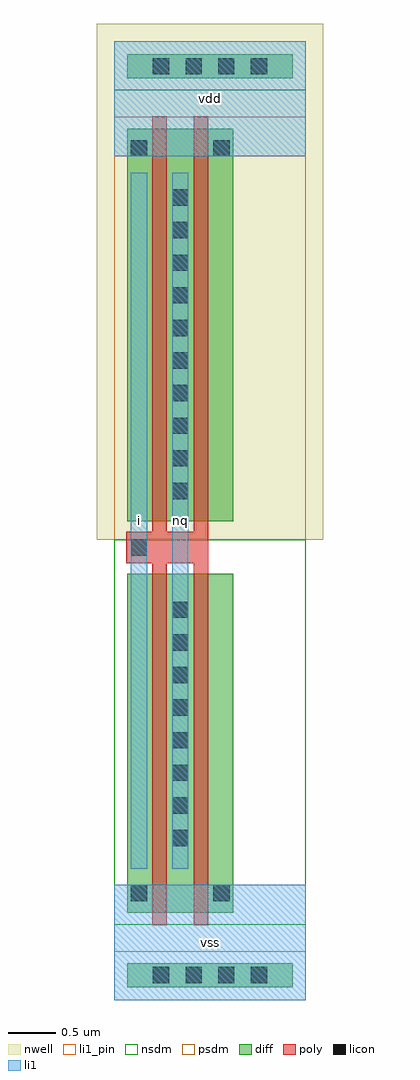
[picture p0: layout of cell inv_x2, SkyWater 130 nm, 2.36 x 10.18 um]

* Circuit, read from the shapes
.subckt inv_x2 i nq vdd vss
XM1 nq i vss VSUBS sky130_fd_pr__nfet_01v8 w=3.535 l=0.15 m=2
XM2 nq i vdd n1 sky130_fd_pr__pfet_01v8 w=4.095 l=0.15 m=2
.ends

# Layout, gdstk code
import gdstk
lib = gdstk.Library(unit=1e-6, precision=1e-09)
def R(c, l, rs):  # rectangles x0, y0, x1, y1
    for r in rs: c.add(gdstk.rectangle(r[:2], r[2:], *l))
def A(c, l, x, y, w, h, nx, ny, dx, dy):  # array of equal rectangles
    R(c, l, [(x+i*dx, y+j*dy, x+i*dx+w, y+j*dy+h) for i in range(nx) for j in range(ny)])
def P(c, l, *ps):  # polygons
    for p in ps: c.add(gdstk.Polygon(p, *l))
nwell = (64, 20)
diff = (65, 20)
poly = (66, 20)
licon = (66, 44)
li1_pin = (67, 16)
li1 = (67, 20)
nsdm = (93, 44)
psdm = (94, 20)

inv_x2 = lib.new_cell('inv_x2')
R(inv_x2, nwell, [(-0.18,4.8,2.18,10.18)])
R(inv_x2, diff, [(0.135,0.135,1.865,0.385), (0.135,0.91,1.245,4.445), (0.135,4.995,1.245,9.09), (0.135,9.615,1.865,9.865)])
P(inv_x2, poly, [(0.4,0.78),(0.4,4.555),(0.125,4.555),(0.125,4.885),(0.4,4.885),(0.4,9.22),(0.55,9.22),(0.55,4.885),(0.83,4.885),(0.83,9.22),(0.98,9.22),(0.98,0.78),(0.83,0.78),(0.83,4.555),(0.55,4.555),(0.55,0.78)])
A(inv_x2, licon, 0.405, 0.175, 0.17, 0.17, 4, 2, 0.34, 9.48)
A(inv_x2, licon, 0.605, 1.605, 0.17, 0.17, 1, 8, 0, 0.34)
A(inv_x2, licon, 0.605, 5.225, 0.17, 0.17, 1, 10, 0, 0.34)
R(inv_x2, licon, [(0.175,1.03,0.345,1.2), (1.035,1.03,1.205,1.2), (0.175,4.635,0.345,4.805), (0.175,8.8,0.345,8.97), (1.035,8.8,1.205,8.97)])
R(inv_x2, li1_pin, [(0,0,2,1.2), (0.175,1.37,0.345,8.63), (0.605,1.37,0.775,8.63), (0,8.8,2,10)])
R(inv_x2, li1, [(0,0,2,1.2), (0.175,1.37,0.345,8.63), (0.605,1.37,0.775,8.63), (0,8.8,2,10)])
R(inv_x2, nsdm, [(0,0.785,2,4.8), (0,9.49,2,10)])
R(inv_x2, psdm, [(0,0,2,0.51), (0,4.8,2,9.215)])
inv_x2.add(gdstk.Label('vss', (1,0.6), layer=67, texttype=16))
inv_x2.add(gdstk.Label('vdd', (1,9.4), layer=67, texttype=16))
inv_x2.add(gdstk.Label('nq', (0.69,5), layer=67, texttype=16))
inv_x2.add(gdstk.Label('i', (0.26,5), layer=67, texttype=16))

lib.write_gds('inv_x2.gds')
